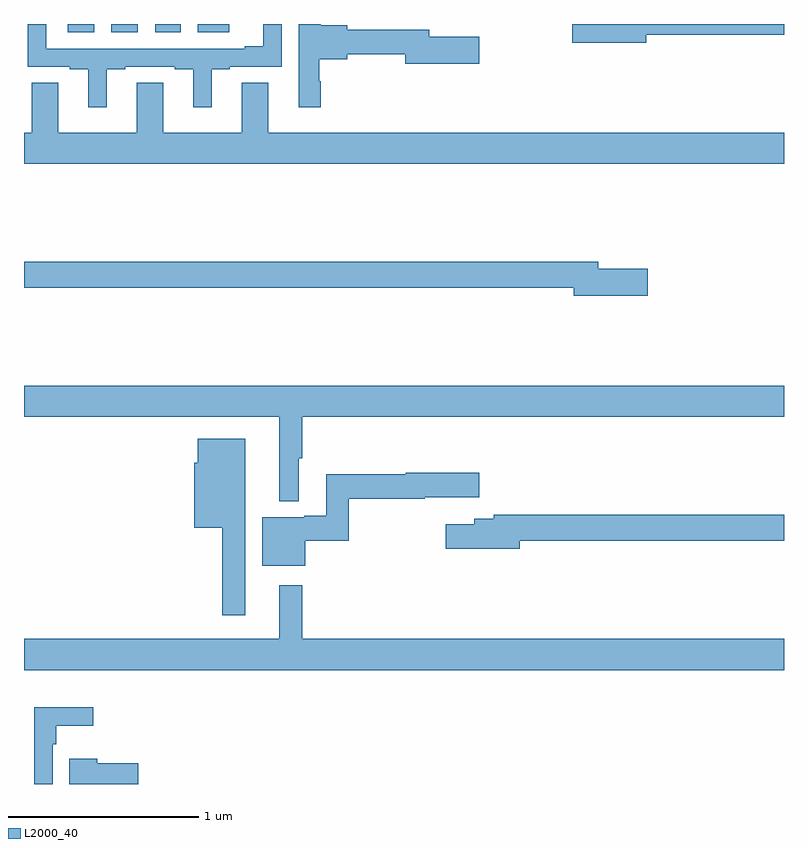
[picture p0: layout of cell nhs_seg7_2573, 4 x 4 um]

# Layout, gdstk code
import gdstk
lib = gdstk.Library(unit=1e-6, precision=1e-09)
def R(c, l, rs):  # rectangles x0, y0, x1, y1
    for r in rs: c.add(gdstk.rectangle(r[:2], r[2:], *l))
def P(c, l, *ps):  # polygons
    for p in ps: c.add(gdstk.Polygon(p, *l))
L2000_40 = (2000, 40)

nhs_seg7_2573 = lib.new_cell('nhs_seg7_2573')
R(nhs_seg7_2573, L2000_40, [(279.23,1019.956,279.37,1020), (279.458,1019.956,279.598,1020), (279.692,1019.956,279.826,1020), (279.914,1019.956,280.081,1020)])
P(nhs_seg7_2573, L2000_40, [(279.436,1019.763),(279.532,1019.763),(279.532,1019.775),(279.794,1019.775),(279.794,1019.763),(279.89,1019.763),(279.89,1019.562),(279.988,1019.562),(279.988,1019.763),(280.084,1019.763),(280.084,1019.775),(280.356,1019.775),(280.356,1020),(280.259,1020),(280.259,1019.884),(280.163,1019.884),(280.163,1019.871),(279.117,1019.871),(279.117,1020),(279.021,1020),(279.021,1019.775),(279.242,1019.775),(279.242,1019.763),(279.338,1019.763),(279.338,1019.562),(279.436,1019.562)],
  [(282.274,1019.944),(283,1019.944),(283,1020),(281.886,1020),(281.886,1019.902),(282.274,1019.902)],
  [(280.562,1019.7),(280.555,1019.7),(280.555,1019.815),(280.702,1019.815),(280.702,1019.841),(281.006,1019.841),(281.006,1019.791),(281.395,1019.791),(281.395,1019.933),(281.134,1019.933),(281.134,1019.969),(280.702,1019.969),(280.702,1019.993),(280.562,1019.993),(280.562,1020),(280.446,1020),(280.446,1019.562),(280.562,1019.562)],
  [(283,1019.428),(280.285,1019.428),(280.285,1019.69),(280.145,1019.69),(280.145,1019.428),(279.733,1019.428),(279.733,1019.69),(279.593,1019.69),(279.593,1019.428),(279.181,1019.428),(279.181,1019.69),(279.041,1019.69),(279.041,1019.428),(279,1019.428),(279,1019.264),(283,1019.264)],
  [(282.283,1018.712),(282.022,1018.712),(282.022,1018.748),(279,1018.748),(279,1018.612),(281.894,1018.612),(281.894,1018.57),(282.283,1018.57)],
  [(280.445,1017.715),(280.465,1017.715),(280.465,1017.932),(283,1017.932),(283,1018.096),(279,1018.096),(279,1017.932),(280.343,1017.932),(280.343,1017.488),(280.445,1017.488)],
  [(280.165,1017.817),(279.914,1017.817),(279.914,1017.69),(279.896,1017.69),(279.896,1017.35),(280.044,1017.35),(280.044,1016.889),(280.165,1016.889)],
  [(280.48,1017.28),(280.709,1017.28),(280.709,1017.502),(281.11,1017.502),(281.11,1017.509),(281.395,1017.509),(281.395,1017.639),(281.01,1017.639),(281.01,1017.631),(280.592,1017.631),(280.592,1017.413),(280.476,1017.413),(280.476,1017.403),(280.253,1017.403),(280.253,1017.149),(280.48,1017.149)],
  [(281.608,1017.28),(283,1017.28),(283,1017.416),(281.473,1017.416),(281.473,1017.397),(281.369,1017.397),(281.369,1017.367),(281.22,1017.367),(281.22,1017.238),(281.608,1017.238)],
  [(283,1016.764),(280.465,1016.764),(280.465,1017.046),(280.343,1017.046),(280.343,1016.764),(279,1016.764),(279,1016.6),(283,1016.6)],
  [(279.15,1016.21),(279.17,1016.21),(279.17,1016.306),(279.364,1016.306),(279.364,1016.405),(279.054,1016.405),(279.054,1016),(279.15,1016)],
  [(279.601,1016.108),(279.386,1016.108),(279.386,1016.134),(279.239,1016.134),(279.239,1016),(279.601,1016)])

lib.write_gds('nhs_seg7_2573.gds')
